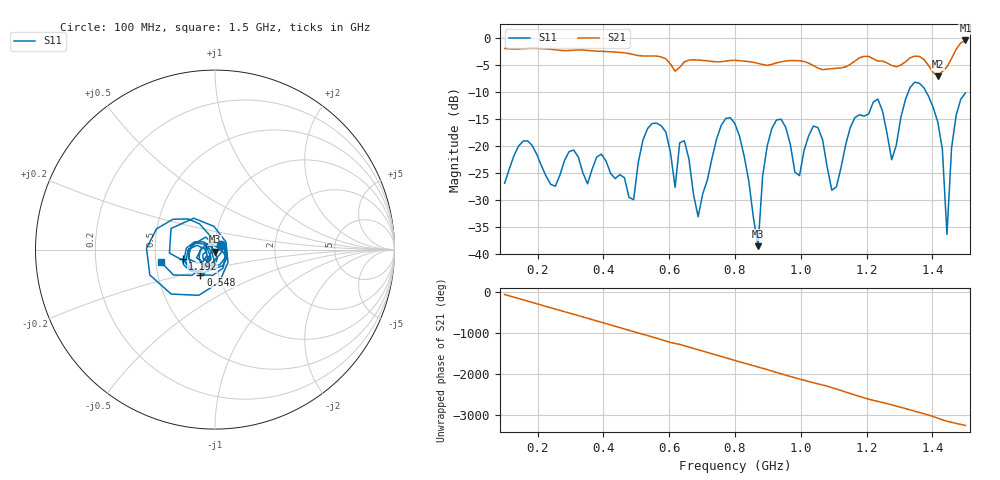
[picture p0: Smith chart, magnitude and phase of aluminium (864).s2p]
! NanoVNA-App
! Date: 2025-09-25 15:02:00
! Start: 100MHz Stop: 1,5GHz Points: 101
! S-Parameter data: F S11 S21 S12 S22
# Hz S RI R 50
!  Frequency  S11_Real  S11_Imag  S21_Real  S21_Imag  S12_Real  S12_Imag  S22_Real  S22_Imag
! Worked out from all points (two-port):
!   101 points, 100 MHz to 1.5 GHz, reference 50 ohm
!   highest |S21| = -0.44 dB at 1.5 GHz (marker M1); lowest = -7.1 dB at 1.416 GHz (marker M2)
!   |S21| within 3 dB of the highest: start of sweep to 570.5 MHz; 1.461 GHz to end of sweep (the widest 2 of 4)
!   lowest |S11| = -38.6 dB at 870 MHz (marker M3), VSWR 1.02, Z = 50 - j1.17 ohm
!   |S11| at or under -10 dB: start of sweep to 1.327 GHz; 1.381 GHz to end of sweep
!   S12 and S22 are empty: the file has one direction only
!   S11 on the Smith chart (normalised r, x): 100 MHz: 1.07, +0.06; 548 MHz: 0.82, -0.24; 1.192 GHz: 0.69, -0.08; 1.5 GHz: 0.53, -0.08
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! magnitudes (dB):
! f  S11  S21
! 100 MHz  -27.0  -1.9
! 156 MHz  -19.1  -2.0
! 338 MHz  -25.0  -2.2
! 492 MHz  -30.0  -3.1
! 548 MHz  -15.8  -3.3
! 576 MHz  -16.3  -3.5
! 618 MHz  -27.7  -6.1
! 646 MHz  -19.0  -4.4
! 688 MHz  -33.2  -4.1
! 800 MHz  -15.9  -4.1
! 870 MHz  -38.6  -4.7
! 912 MHz  -16.8  -4.9
! 996 MHz  -25.5  -4.2
! 1.038 GHz  -16.3  -5.1
! 1.094 GHz  -28.2  -5.7
! 1.192 GHz  -14.5  -3.4
! 1.276 GHz  -22.6  -5.1
! 1.346 GHz  -8.2  -3.3
! 1.416 GHz  -15.5  -7.1
! 1.444 GHz  -36.4  -5.3
! 1.458 GHz  -20.4  -3.8
! 1.5 GHz  -10.2  -0.4
